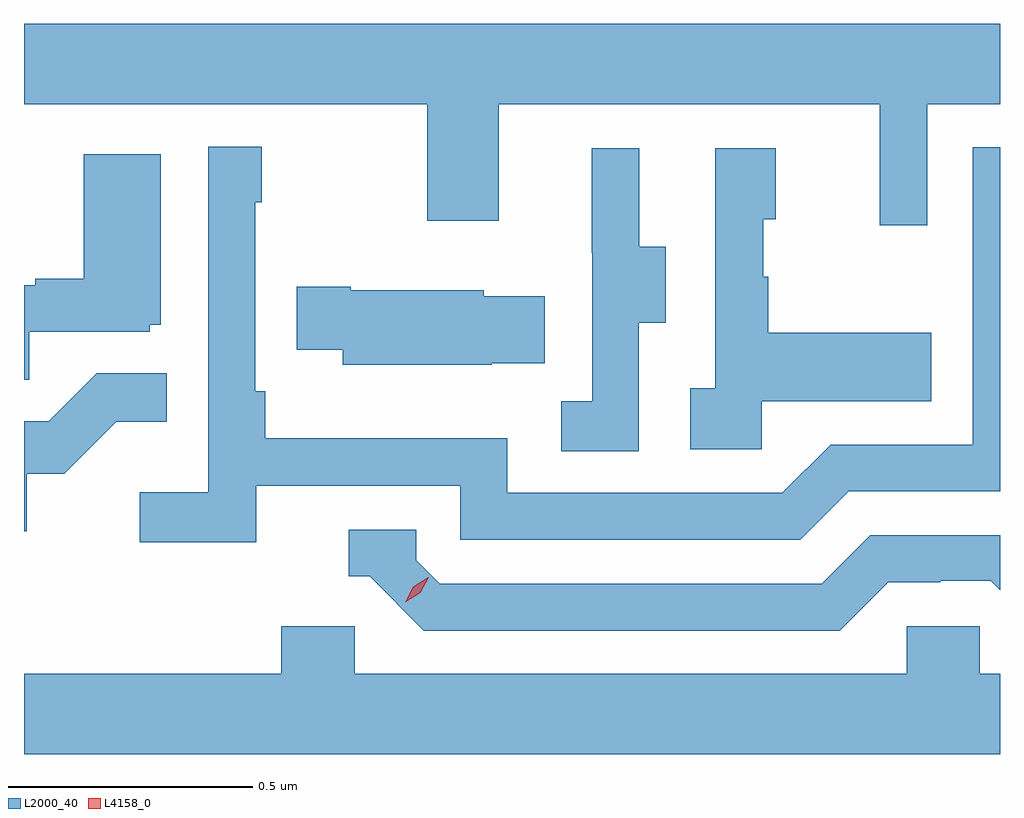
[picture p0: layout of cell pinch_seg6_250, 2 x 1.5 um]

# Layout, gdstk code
import gdstk
lib = gdstk.Library(unit=1e-6, precision=1e-09)
def P(c, l, *ps):  # polygons
    for p in ps: c.add(gdstk.Polygon(p, *l))
L2000_40 = (2000, 40)
L4158_0 = (4158, 0)

pinch_seg6_250 = lib.new_cell('pinch_seg6_250')
P(pinch_seg6_250, L2000_40, [(1116.123,923.36),(1116.272,923.36),(1116.272,923.524),(1114.272,923.524),(1114.272,923.36),(1115.098,923.36),(1115.098,923.121),(1115.245,923.121),(1115.245,923.36),(1116.026,923.36),(1116.026,923.112),(1116.123,923.112)],
  [(1114.748,922.578),(1115.166,922.578),(1115.166,922.467),(1115.863,922.467),(1115.962,922.566),(1116.272,922.566),(1116.272,923.271),(1116.216,923.271),(1116.216,922.662),(1115.925,922.662),(1115.826,922.563),(1115.262,922.563),(1115.262,922.675),(1114.766,922.675),(1114.766,922.771),(1114.746,922.771),(1114.746,923.159),(1114.759,923.159),(1114.759,923.272),(1114.65,923.272),(1114.65,922.564),(1114.509,922.564),(1114.509,922.462),(1114.748,922.462)],
  [(1115.784,922.751),(1116.131,922.751),(1116.131,922.891),(1115.797,922.891),(1115.797,923.006),(1115.787,923.006),(1115.787,923.124),(1115.812,923.124),(1115.812,923.269),(1115.688,923.269),(1115.688,922.778),(1115.637,922.778),(1115.637,922.653),(1115.784,922.653)],
  [(1115.532,922.912),(1115.587,922.912),(1115.587,923.067),(1115.533,923.067),(1115.533,923.269),(1115.435,923.269),(1115.435,923.055),(1115.436,923.055),(1115.436,922.751),(1115.373,922.751),(1115.373,922.648),(1115.532,922.648)],
  [(1114.283,922.893),(1114.53,922.893),(1114.53,922.908),(1114.552,922.908),(1114.552,923.257),(1114.394,923.257),(1114.394,923.002),(1114.295,923.002),(1114.295,922.989),(1114.272,922.989),(1114.272,922.795),(1114.283,922.795)],
  [(1115.231,922.829),(1115.339,922.829),(1115.339,922.966),(1115.214,922.966),(1115.214,922.978),(1114.942,922.978),(1114.942,922.986),(1114.831,922.986),(1114.831,922.856),(1114.925,922.856),(1114.925,922.826),(1115.231,922.826)],
  [(1114.278,922.602),(1114.354,922.602),(1114.461,922.709),(1114.565,922.709),(1114.565,922.808),(1114.421,922.808),(1114.323,922.71),(1114.272,922.71),(1114.272,922.485),(1114.278,922.485)],
  [(1116.043,922.38),(1116.15,922.38),(1116.15,922.383),(1116.253,922.383),(1116.272,922.364),(1116.272,922.476),(1116.006,922.476),(1115.907,922.377),(1115.124,922.377),(1115.076,922.425),(1115.076,922.488),(1114.937,922.488),(1114.937,922.392),(1114.98,922.392),(1115.091,922.281),(1115.944,922.281)],
  [(1116.272,922.192),(1116.231,922.192),(1116.231,922.29),(1116.081,922.29),(1116.081,922.192),(1114.95,922.192),(1114.95,922.29),(1114.799,922.29),(1114.799,922.192),(1114.272,922.192),(1114.272,922.028),(1116.272,922.028)])
P(pinch_seg6_250, L4158_0, [(1115.053,922.339),(1115.053,922.339),(1115.07,922.371),(1115.1,922.39),(1115.101,922.39),(1115.101,922.39),(1115.084,922.358),(1115.053,922.339)])

lib.write_gds('pinch_seg6_250.gds')
